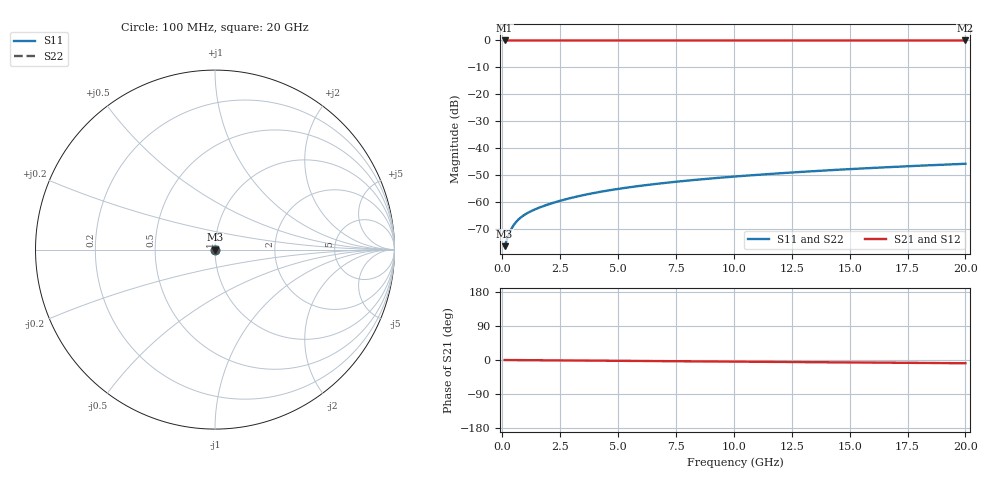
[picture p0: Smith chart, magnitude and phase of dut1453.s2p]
! Touchstone file exported from HFSS 2026.1.0
!  File:  C:/ffzhzh/LocalFiles/Ansys_Project_Files/temp_train_TSV_1453_1783197930_43440.aedt
!  Generated:  04:46:59 AM Jul  5, 2026
!  Design:  TSV
!  Project:  temp_train_TSV_1453_1783197930_43440
! Variables:
!  h_bsmrdl = 2um
!  h_ox = 20um
!  h_rdl = 5um
!  h_sub = 86.35um
!  h_tmrdl = 5um
!  h_tsv = 86.35um
!  h_via = 3um
!  l_bsmrdl = 300um
!  l_sub = 420.46um
!  l_tmrdl = 200um
!  m_sub = 200um
!  pitch = 42.92um
!  r_tsv = 10.23um
!  s_tmrdl = 10um
!  w_bsmrdl = 18um
!  w_sub = 500um
!  w_tmrdl = 12um
!  x_tsv_center1 = 206um
!  x_tsv_center2 = 524um
!  x_tsv_center3 = 736um
!  x_tsv_center4 = 1054um
!  x_tsv_center5 = 1266um
!  x_tsv_center6 = 1584um
# GHz S MA R 50.000000
! Terminal data exported
! Port[1] = TSV1_1_T1
! Port[2] = TSV1_1_T2
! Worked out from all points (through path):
!   200 points, 100 MHz to 20 GHz, reference 50 ohm
!   highest |S21| = 0.00 dB at 100 MHz (marker M1); lowest = 0.0 dB at 20 GHz (marker M2)
!   group delay of S21, straight-line fit = 1.18 ps
!   lowest |S11| = -76.6 dB at 100 MHz (marker M3), VSWR 1.00, Z = 50 + j0.00703 ohm
!   |S11| at or under -10 dB: start of sweep to end of sweep
!   |S22| runs from -76.6 to -45.9 dB; largest |S21 - S12| = 1.1e-15
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0.1  0.0001486 28.2  0.9999 -0.0  0.9999 -0.0  0.0001486 28.2
! Gamma 0 0 0 0
! Port Impedance 50 0 50 0
0.2  0.000199 43.7  0.9999 -0.1  0.9999 -0.1  0.000199 43.7
0.3  0.0002577 50.6  0.9998 -0.1  0.9998 -0.1  0.0002577 50.6
0.4  0.000316 53.7  0.9998 -0.2  0.9998 -0.2  0.000316 53.7
0.5  0.0003707 55.1  0.9998 -0.2  0.9998 -0.2  0.0003707 55.1
0.6  0.0004209 55.7  0.9998 -0.3  0.9998 -0.3  0.0004209 55.7
0.7  0.0004668 55.9  0.9997 -0.3  0.9997 -0.3  0.0004668 55.9
0.8  0.0005089 56.1  0.9997 -0.4  0.9997 -0.4  0.0005089 56.1
1  0.0005844 56.4  0.9997 -0.4  0.9997 -0.4  0.0005844 56.4
1.4  0.0007156 57.6  0.9996 -0.6  0.9996 -0.6  0.0007155 57.6
2  0.0008947 59.7  0.9996 -0.9  0.9996 -0.9  0.0008947 59.7
2.7  0.001097 61.8  0.9995 -1.2  0.9995 -1.2  0.001097 61.8
3.5  0.001324 63.3  0.9994 -1.5  0.9994 -1.5  0.001324 63.3
4.2  0.001516 64.2  0.9994 -1.8  0.9994 -1.8  0.001516 64.2
5  0.001728 64.9  0.9993 -2.1  0.9993 -2.1  0.001728 64.8
5.9  0.001958 65.4  0.9993 -2.5  0.9993 -2.5  0.001958 65.4
6.8  0.00218 65.7  0.9992 -2.9  0.9992 -2.9  0.00218 65.7
8.3  0.002537 66.2  0.9991 -3.6  0.9991 -3.6  0.002537 66.2
10.1  0.002952 66.6  0.999 -4.3  0.999 -4.3  0.002952 66.6
13.4  0.003688 66.8  0.9989 -5.7  0.9989 -5.7  0.003689 66.8
16.7  0.004396 66.5  0.9988 -7.1  0.9988 -7.1  0.004397 66.5
20  0.005072 65.9  0.9986 -8.5  0.9986 -8.5  0.005072 65.9
